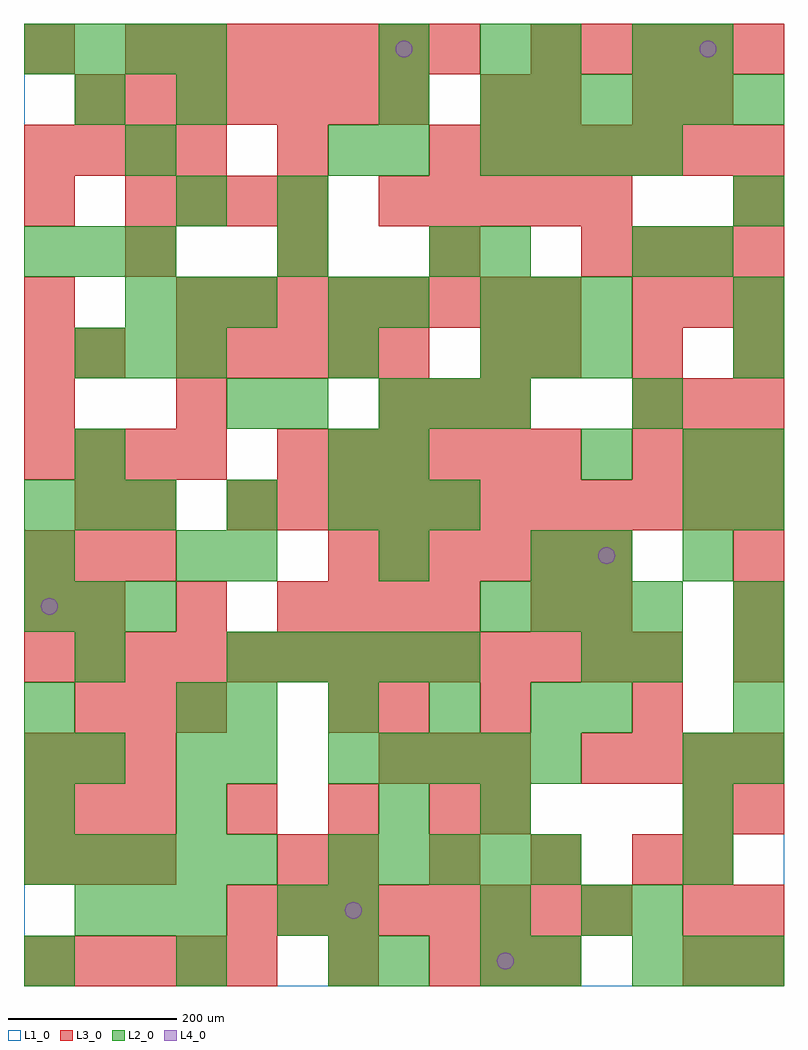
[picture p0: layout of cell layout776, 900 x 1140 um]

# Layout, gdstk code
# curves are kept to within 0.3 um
import gdstk
lib = gdstk.Library(unit=1e-6, precision=1e-09)
def R(c, l, rs):  # rectangles x0, y0, x1, y1
    for r in rs: c.add(gdstk.rectangle(r[:2], r[2:], *l))
def A(c, l, x, y, w, h, nx, ny, dx, dy):  # array of equal rectangles
    R(c, l, [(x+i*dx, y+j*dy, x+i*dx+w, y+j*dy+h) for i in range(nx) for j in range(ny)])
def P(c, l, *ps):  # polygons
    for p in ps: c.add(gdstk.Polygon(p, *l))
L1_0 = (1, 0)
L2_0 = (2, 0)
L3_0 = (3, 0)
L4_0 = (4, 0)

layout776 = lib.new_cell('layout776')
R(layout776, L1_0, [(0,0,900,1140)])
A(layout776, L2_0, 0, 0, 60, 60, 3, 1, 180, 0)
A(layout776, L2_0, 720, 0, 60, 60, 3, 1, 60, 0)
A(layout776, L2_0, 60, 60, 60, 60, 3, 2, 60, 660)
A(layout776, L2_0, 720, 60, 60, 60, 1, 3, 0, 300)
A(layout776, L2_0, 0, 120, 60, 60, 5, 1, 60, 0)
A(layout776, L2_0, 360, 120, 60, 60, 5, 2, 60, 120)
A(layout776, L2_0, 780, 120, 60, 60, 1, 3, 0, 60)
A(layout776, L2_0, 0, 180, 60, 60, 1, 3, 0, 60)
A(layout776, L2_0, 180, 180, 60, 60, 1, 3, 0, 60)
A(layout776, L2_0, 840, 240, 60, 60, 1, 4, 0, 60)
A(layout776, L2_0, 240, 300, 60, 60, 4, 1, 120, 0)
A(layout776, L2_0, 240, 360, 60, 60, 5, 1, 60, 0)
A(layout776, L2_0, 660, 360, 60, 60, 1, 3, 0, 120)
A(layout776, L2_0, 0, 420, 60, 60, 3, 2, 60, 120)
A(layout776, L2_0, 540, 420, 60, 60, 4, 2, 60, 540)
A(layout776, L2_0, 240, 480, 60, 60, 3, 1, 180, 0)
A(layout776, L2_0, 780, 480, 60, 60, 1, 3, 0, 60)
A(layout776, L2_0, 360, 540, 60, 60, 3, 1, 60, 0)
A(layout776, L2_0, 420, 600, 60, 60, 1, 3, 0, 180)
A(layout776, L2_0, 420, 660, 60, 60, 3, 1, 60, 0)
A(layout776, L2_0, 540, 720, 60, 60, 3, 2, 60, 60)
A(layout776, L2_0, 120, 780, 60, 60, 3, 1, 60, 0)
A(layout776, L2_0, 0, 840, 60, 60, 3, 1, 60, 0)
A(layout776, L2_0, 540, 1020, 60, 60, 6, 1, 60, 0)
A(layout776, L2_0, 0, 1080, 60, 60, 4, 1, 60, 0)
R(layout776, L2_0, [(420,0,480,60), (540,0,600,60), (600,0,660,60), (300,60,360,120), (360,60,420,120), (540,60,600,120), (660,60,720,120), (420,180,480,240), (540,180,600,240), (60,240,120,300), (240,240,300,300), (660,300,720,360), (60,360,120,420), (0,480,60,540), (180,480,240,540), (240,540,300,600), (840,540,900,600), (60,600,120,660), (360,600,420,660), (840,600,900,660), (240,660,300,720), (300,660,360,720), (360,720,420,780), (840,720,900,780), (360,780,420,840), (840,780,900,840), (300,840,360,900), (480,840,540,900), (540,840,600,900), (720,840,780,900), (780,840,840,900), (180,900,240,960), (300,900,360,960), (840,900,900,960), (120,960,180,1020), (360,960,420,1020), (60,1020,120,1080), (180,1020,240,1080), (420,1020,480,1080), (420,1080,480,1140), (540,1080,600,1140), (600,1080,660,1140), (720,1080,780,1140), (780,1080,840,1140)])
A(layout776, L3_0, 0, 0, 60, 60, 5, 1, 60, 0)
A(layout776, L3_0, 480, 0, 60, 60, 3, 1, 60, 0)
A(layout776, L3_0, 780, 0, 60, 60, 1, 4, 0, 60)
A(layout776, L3_0, 240, 60, 60, 60, 8, 1, 60, 0)
A(layout776, L3_0, 0, 120, 60, 60, 3, 3, 60, 60)
A(layout776, L3_0, 360, 120, 60, 60, 4, 1, 120, 0)
A(layout776, L3_0, 240, 180, 60, 60, 3, 1, 120, 0)
A(layout776, L3_0, 420, 240, 60, 60, 3, 2, 60, 420)
A(layout776, L3_0, 660, 240, 60, 60, 4, 1, 60, 0)
A(layout776, L3_0, 60, 300, 60, 60, 3, 1, 60, 0)
A(layout776, L3_0, 0, 360, 60, 60, 13, 1, 60, 0)
A(layout776, L3_0, 840, 360, 60, 60, 1, 3, 0, 60)
A(layout776, L3_0, 60, 420, 60, 60, 3, 1, 120, 0)
A(layout776, L3_0, 360, 420, 60, 60, 3, 1, 60, 0)
A(layout776, L3_0, 0, 480, 60, 60, 3, 1, 60, 0)
A(layout776, L3_0, 360, 480, 60, 60, 6, 1, 60, 0)
A(layout776, L3_0, 240, 540, 60, 60, 11, 1, 60, 0)
A(layout776, L3_0, 0, 600, 60, 60, 4, 2, 60, 360)
A(layout776, L3_0, 300, 600, 60, 60, 6, 1, 60, 0)
A(layout776, L3_0, 720, 600, 60, 60, 3, 2, 60, 60)
A(layout776, L3_0, 0, 660, 60, 60, 1, 3, 0, 60)
A(layout776, L3_0, 180, 720, 60, 60, 5, 1, 60, 0)
A(layout776, L3_0, 600, 720, 60, 60, 3, 1, 120, 0)
A(layout776, L3_0, 180, 780, 60, 60, 8, 1, 60, 0)
A(layout776, L3_0, 720, 780, 60, 60, 3, 2, 60, 60)
A(layout776, L3_0, 120, 840, 60, 60, 4, 1, 180, 0)
A(layout776, L3_0, 120, 900, 60, 60, 4, 1, 60, 0)
A(layout776, L3_0, 420, 900, 60, 60, 5, 1, 60, 0)
A(layout776, L3_0, 480, 960, 60, 60, 7, 1, 60, 0)
A(layout776, L3_0, 60, 1020, 60, 60, 7, 1, 60, 0)
A(layout776, L3_0, 120, 1080, 60, 60, 7, 1, 60, 0)
A(layout776, L3_0, 600, 1080, 60, 60, 5, 1, 60, 0)
R(layout776, L3_0, [(360,0,420,60), (840,0,900,60), (840,60,900,120), (300,120,360,180), (540,180,600,240), (840,180,900,240), (360,300,420,360), (420,300,480,360), (540,300,600,360), (720,300,780,360), (0,420,60,480), (600,420,660,480), (660,420,720,480), (60,540,120,600), (120,540,180,600), (180,660,240,720), (60,720,120,780), (540,720,600,780), (0,900,60,960), (840,900,900,960), (300,960,360,1020), (540,1020,600,1080), (600,1020,660,1080), (720,1020,780,1080), (780,1020,840,1080), (0,1080,60,1140)])
P(layout776, L4_0, [(40,450),(39.239,453.827),(37.071,457.071),(33.827,459.239),(30,460),(26.173,459.239),(22.929,457.071),(20.761,453.827),(20,450),(20.761,446.173),(22.929,442.929),(26.173,440.761),(30,440),(33.827,440.761),(37.071,442.929),(39.239,446.173)],
  [(400,90),(399.239,93.827),(397.071,97.071),(393.827,99.239),(390,100),(386.173,99.239),(382.929,97.071),(380.761,93.827),(380,90),(380.761,86.173),(382.929,82.929),(386.173,80.761),(390,80),(393.827,80.761),(397.071,82.929),(399.239,86.173)],
  [(460,1110),(459.239,1113.827),(457.071,1117.071),(453.827,1119.239),(450,1120),(446.173,1119.239),(442.929,1117.071),(440.761,1113.827),(440,1110),(440.761,1106.173),(442.929,1102.929),(446.173,1100.761),(450,1100),(453.827,1100.761),(457.071,1102.929),(459.239,1106.173)],
  [(580,30),(579.239,33.827),(577.071,37.071),(573.827,39.239),(570,40),(566.173,39.239),(562.929,37.071),(560.761,33.827),(560,30),(560.761,26.173),(562.929,22.929),(566.173,20.761),(570,20),(573.827,20.761),(577.071,22.929),(579.239,26.173)],
  [(700,510),(699.239,513.827),(697.071,517.071),(693.827,519.239),(690,520),(686.173,519.239),(682.929,517.071),(680.761,513.827),(680,510),(680.761,506.173),(682.929,502.929),(686.173,500.761),(690,500),(693.827,500.761),(697.071,502.929),(699.239,506.173)],
  [(820,1110),(819.239,1113.827),(817.071,1117.071),(813.827,1119.239),(810,1120),(806.173,1119.239),(802.929,1117.071),(800.761,1113.827),(800,1110),(800.761,1106.173),(802.929,1102.929),(806.173,1100.761),(810,1100),(813.827,1100.761),(817.071,1102.929),(819.239,1106.173)])

lib.write_gds('layout776.gds')
